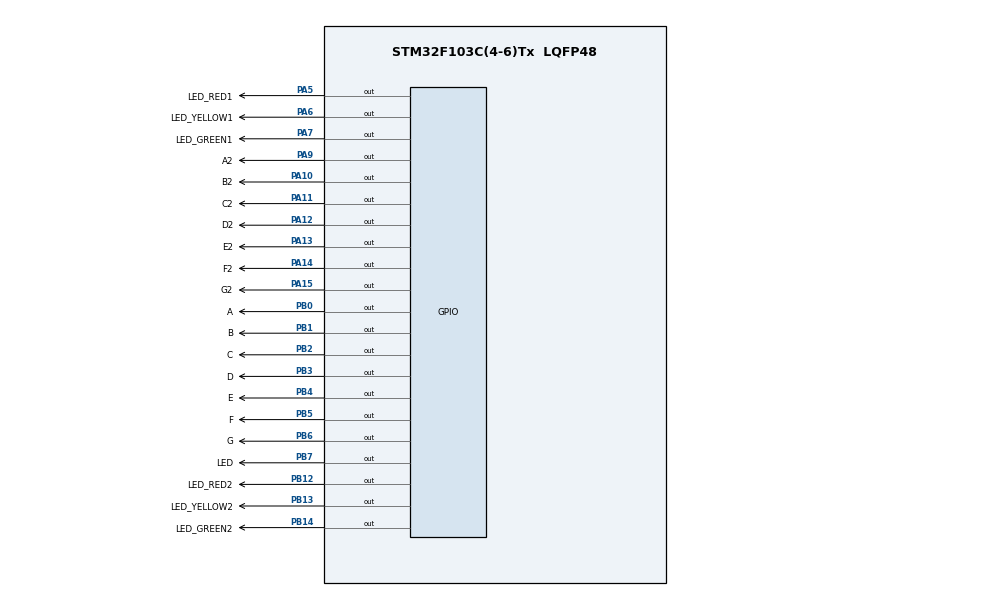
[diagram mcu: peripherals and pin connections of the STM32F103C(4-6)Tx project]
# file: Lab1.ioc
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Mcu.Family=STM32F1
Mcu.Name=STM32F103C(4-6)Tx
Mcu.Package=LQFP48
NVIC.PriorityGroup=NVIC_PRIORITYGROUP_4
PA10.GPIO_Label=B2
PA10.Signal=GPIO_Output
PA11.GPIO_Label=C2
PA11.Signal=GPIO_Output
PA12.GPIO_Label=D2
PA12.Signal=GPIO_Output
PA13.GPIO_Label=E2
PA13.Signal=GPIO_Output
PA14.GPIO_Label=F2
PA14.Signal=GPIO_Output
PA15.GPIO_Label=G2
PA15.Signal=GPIO_Output
PA5.GPIO_Label=LED_RED1
PA5.Signal=GPIO_Output
PA6.GPIO_Label=LED_YELLOW1
PA6.Signal=GPIO_Output
PA7.GPIO_Label=LED_GREEN1
PA7.Signal=GPIO_Output
PA9.GPIO_Label=A2
PA9.Signal=GPIO_Output
PB0.GPIO_Label=A
PB0.Signal=GPIO_Output
PB1.GPIO_Label=B
PB1.Signal=GPIO_Output
PB12.GPIO_Label=LED_RED2
PB12.Signal=GPIO_Output
PB13.GPIO_Label=LED_YELLOW2
PB13.Signal=GPIO_Output
PB14.GPIO_Label=LED_GREEN2
PB14.Signal=GPIO_Output
PB2.GPIO_Label=C
PB2.Signal=GPIO_Output
PB3.GPIO_Label=D
PB3.Signal=GPIO_Output
PB4.GPIO_Label=E
PB4.Signal=GPIO_Output
PB5.GPIO_Label=F
PB5.Signal=GPIO_Output
PB6.GPIO_Label=G
PB6.Signal=GPIO_Output
PB7.GPIO_Label=LED
PB7.Signal=GPIO_Output
ProjectManager.HeapSize=0x200
ProjectManager.StackSize=0x400
ProjectManager.TargetToolchain=CMake
RCC.APB1Freq_Value=8000000
RCC.APB2Freq_Value=8000000
VP_SYS_VS_ND.Mode=No_Debug
board=custom

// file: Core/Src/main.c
/* USER CODE BEGIN Header */
/**
 ******************************************************************************
 * @file           : main.c
 * @brief          : Main program body
 ******************************************************************************
 * @attention
 *
 * Copyright (c) 2025 STMicroelectronics.
 * All rights reserved.
 *
 * This software is licensed under terms that can be found in the LICENSE file
 * in the root directory of this software component.
 * If no LICENSE file comes with this software, it is provided AS-IS.
 *
 ******************************************************************************
 */
/* USER CODE END Header */
#include "main.h"

void SystemClock_Config(void);
static void MX_GPIO_Init(void);

/* USER CODE BEGIN 0 */

void display7SEG1(int num)
{
    switch(num)
    {
        case 0:
        {
            HAL_GPIO_WritePin(GPIOB, A_Pin, RESET);
            HAL_GPIO_WritePin(GPIOB, B_Pin, RESET);
            HAL_GPIO_WritePin(GPIOB, C_Pin, RESET);
            HAL_GPIO_WritePin(GPIOB, D_Pin, RESET);
            HAL_GPIO_WritePin(GPIOB, E_Pin, RESET);
            HAL_GPIO_WritePin(GPIOB, F_Pin, RESET);
            HAL_GPIO_WritePin(GPIOB, G_Pin, SET);
            break;
        }
        case 1:
        {
            HAL_GPIO_WritePin(GPIOB, A_Pin, SET);
            HAL_GPIO_WritePin(GPIOB, B_Pin, RESET);
            HAL_GPIO_WritePin(GPIOB, C_Pin, RESET);
            HAL_GPIO_WritePin(GPIOB, D_Pin, SET);
            HAL_GPIO_WritePin(GPIOB, E_Pin, SET);
            HAL_GPIO_WritePin(GPIOB, F_Pin, SET);
            HAL_GPIO_WritePin(GPIOB, G_Pin, SET);
            break;
        }
        case 2:
        {
            HAL_GPIO_WritePin(GPIOB, A_Pin, RESET);
            HAL_GPIO_WritePin(GPIOB, B_Pin, RESET);
            HAL_GPIO_WritePin(GPIOB, C_Pin, SET);
            HAL_GPIO_WritePin(GPIOB, D_Pin, RESET);
            HAL_GPIO_WritePin(GPIOB, E_Pin, RESET);
            HAL_GPIO_WritePin(GPIOB, F_Pin, SET);
            HAL_GPIO_WritePin(GPIOB, G_Pin, RESET);
            break;
        }
        case 3:
        {
            HAL_GPIO_WritePin(GPIOB, A_Pin, RESET);
            HAL_GPIO_WritePin(GPIOB, B_Pin, RESET);
            HAL_GPIO_WritePin(GPIOB, C_Pin, RESET);
            HAL_GPIO_WritePin(GPIOB, D_Pin, RESET);
            HAL_GPIO_WritePin(GPIOB, E_Pin, SET);
            HAL_GPIO_WritePin(GPIOB, F_Pin, SET);
            HAL_GPIO_WritePin(GPIOB, G_Pin, RESET);
            break;
        }
        case 4:
        {
            HAL_GPIO_WritePin(GPIOB, A_Pin, SET);
            HAL_GPIO_WritePin(GPIOB, B_Pin, RESET);
            HAL_GPIO_WritePin(GPIOB, C_Pin, RESET);
            HAL_GPIO_WritePin(GPIOB, D_Pin, SET);
            HAL_GPIO_WritePin(GPIOB, E_Pin, SET);
            HAL_GPIO_WritePin(GPIOB, F_Pin, RESET);
            HAL_GPIO_WritePin(GPIOB, G_Pin, RESET);
            break;
        }
        case 5:
        {
            HAL_GPIO_WritePin(GPIOB, A_Pin, RESET);
            HAL_GPIO_WritePin(GPIOB, B_Pin, SET);
            HAL_GPIO_WritePin(GPIOB, C_Pin, RESET);
            HAL_GPIO_WritePin(GPIOB, D_Pin, RESET);
            HAL_GPIO_WritePin(GPIOB, E_Pin, SET);
            HAL_GPIO_WritePin(GPIOB, F_Pin, RESET);
            HAL_GPIO_WritePin(GPIOB, G_Pin, RESET);
            break;
        }
        case 6:
        {
            HAL_GPIO_WritePin(GPIOB, A_Pin, RESET);
            HAL_GPIO_WritePin(GPIOB, B_Pin, SET);
            HAL_GPIO_WritePin(GPIOB, C_Pin, RESET);
            HAL_GPIO_WritePin(GPIOB, D_Pin, RESET);
            HAL_GPIO_WritePin(GPIOB, E_Pin, RESET);
            HAL_GPIO_WritePin(GPIOB, F_Pin, RESET);
            HAL_GPIO_WritePin(GPIOB, G_Pin, RESET);
            break;
        }
        case 7:
        {
            HAL_GPIO_WritePin(GPIOB, A_Pin, RESET);
            HAL_GPIO_WritePin(GPIOB, B_Pin, RESET);
            HAL_GPIO_WritePin(GPIOB, C_Pin, RESET);
            HAL_GPIO_WritePin(GPIOB, D_Pin, SET);
            HAL_GPIO_WritePin(GPIOB, E_Pin, SET);
            HAL_GPIO_WritePin(GPIOB, F_Pin, SET);
            HAL_GPIO_WritePin(GPIOB, G_Pin, SET);
            break;
        }
        case 8:
        {
            HAL_GPIO_WritePin(GPIOB, A_Pin, RESET);
            HAL_GPIO_WritePin(GPIOB, B_Pin, RESET);
            HAL_GPIO_WritePin(GPIOB, C_Pin, RESET);
            HAL_GPIO_WritePin(GPIOB, D_Pin, RESET);
            HAL_GPIO_WritePin(GPIOB, E_Pin, RESET);
            HAL_GPIO_WritePin(GPIOB, F_Pin, RESET);
            HAL_GPIO_WritePin(GPIOB, G_Pin, RESET);
            break;
        }
        case 9:
        {
            HAL_GPIO_WritePin(GPIOB, A_Pin, RESET);
            HAL_GPIO_WritePin(GPIOB, B_Pin, RESET);
            HAL_GPIO_WritePin(GPIOB, C_Pin, RESET);
            HAL_GPIO_WritePin(GPIOB, D_Pin, RESET);
            HAL_GPIO_WritePin(GPIOB, E_Pin, SET);
            HAL_GPIO_WritePin(GPIOB, F_Pin, RESET);
            HAL_GPIO_WritePin(GPIOB, G_Pin, RESET);
            break;
        }
    }
}

void display7SEG2(int num)
{
    switch(num)
    {
        case 0:
        {
            HAL_GPIO_WritePin(GPIOA, A2_Pin, RESET);
            HAL_GPIO_WritePin(GPIOA, B2_Pin, RESET);
            HAL_GPIO_WritePin(GPIOA, C2_Pin, RESET);
            HAL_GPIO_WritePin(GPIOA, D2_Pin, RESET);
            HAL_GPIO_WritePin(GPIOA, E2_Pin, RESET);
            HAL_GPIO_WritePin(GPIOA, F2_Pin, RESET);
            HAL_GPIO_WritePin(GPIOA, G2_Pin, SET);
            break;
        }
        case 1:
        {
            HAL_GPIO_WritePin(GPIOA, A2_Pin, SET);
            HAL_GPIO_WritePin(GPIOA, B2_Pin, RESET);
            HAL_GPIO_WritePin(GPIOA, C2_Pin, RESET);
            HAL_GPIO_WritePin(GPIOA, D2_Pin, SET);
            HAL_GPIO_WritePin(GPIOA, E2_Pin, SET);
            HAL_GPIO_WritePin(GPIOA, F2_Pin, SET);
            HAL_GPIO_WritePin(GPIOA, G2_Pin, SET);
            break;
        }
        case 2:
        {
            HAL_GPIO_WritePin(GPIOA, A2_Pin, RESET);
            HAL_GPIO_WritePin(GPIOA, B2_Pin, RESET);
            HAL_GPIO_WritePin(GPIOA, C2_Pin, SET);
            HAL_GPIO_WritePin(GPIOA, D2_Pin, RESET);
            HAL_GPIO_WritePin(GPIOA, E2_Pin, RESET);
            HAL_GPIO_WritePin(GPIOA, F2_Pin, SET);
            HAL_GPIO_WritePin(GPIOA, G2_Pin, RESET);
            break;
        }
        case 3:
        {
            HAL_GPIO_WritePin(GPIOA, A2_Pin, RESET);
            HAL_GPIO_WritePin(GPIOA, B2_Pin, RESET);
            HAL_GPIO_WritePin(GPIOA, C2_Pin, RESET);
            HAL_GPIO_WritePin(GPIOA, D2_Pin, RESET);
            HAL_GPIO_WritePin(GPIOA, E2_Pin, SET);
            HAL_GPIO_WritePin(GPIOA, F2_Pin, SET);
            HAL_GPIO_WritePin(GPIOA, G2_Pin, RESET);
            break;
        }
        case 4:
        {
            HAL_GPIO_WritePin(GPIOA, A2_Pin, SET);
            HAL_GPIO_WritePin(GPIOA, B2_Pin, RESET);
            HAL_GPIO_WritePin(GPIOA, C2_Pin, RESET);
            HAL_GPIO_WritePin(GPIOA, D2_Pin, SET);
            HAL_GPIO_WritePin(GPIOA, E2_Pin, SET);
            HAL_GPIO_WritePin(GPIOA, F2_Pin, RESET);
            HAL_GPIO_WritePin(GPIOA, G2_Pin, RESET);
            break;
        }
        case 5:
        {
            HAL_GPIO_WritePin(GPIOA, A2_Pin, RESET);
            HAL_GPIO_WritePin(GPIOA, B2_Pin, SET);
            HAL_GPIO_WritePin(GPIOA, C2_Pin, RESET);
            HAL_GPIO_WritePin(GPIOA, D2_Pin, RESET);
            HAL_GPIO_WritePin(GPIOA, E2_Pin, SET);
            HAL_GPIO_WritePin(GPIOA, F2_Pin, RESET);
            HAL_GPIO_WritePin(GPIOA, G2_Pin, RESET);
            break;
        }
        case 6:
        {
            HAL_GPIO_WritePin(GPIOA, A2_Pin, RESET);
            HAL_GPIO_WritePin(GPIOA, B2_Pin, SET);
            HAL_GPIO_WritePin(GPIOA, C2_Pin, RESET);
            HAL_GPIO_WritePin(GPIOA, D2_Pin, RESET);
            HAL_GPIO_WritePin(GPIOA, E2_Pin, RESET);
            HAL_GPIO_WritePin(GPIOA, F2_Pin, RESET);
            HAL_GPIO_WritePin(GPIOA, G2_Pin, RESET);
            break;
        }
        case 7:
        {
            HAL_GPIO_WritePin(GPIOA, A2_Pin, RESET);
            HAL_GPIO_WritePin(GPIOA, B2_Pin, RESET);
            HAL_GPIO_WritePin(GPIOA, C2_Pin, RESET);
            HAL_GPIO_WritePin(GPIOA, D2_Pin, SET);
            HAL_GPIO_WritePin(GPIOA, E2_Pin, SET);
            HAL_GPIO_WritePin(GPIOA, F2_Pin, SET);
            HAL_GPIO_WritePin(GPIOA, G2_Pin, SET);
            break;
        }
        case 8:
        {
            HAL_GPIO_WritePin(GPIOA, A2_Pin, RESET);
            HAL_GPIO_WritePin(GPIOA, B2_Pin, RESET);
            HAL_GPIO_WritePin(GPIOA, C2_Pin, RESET);
            HAL_GPIO_WritePin(GPIOA, D2_Pin, RESET);
            HAL_GPIO_WritePin(GPIOA, E2_Pin, RESET);
            HAL_GPIO_WritePin(GPIOA, F2_Pin, RESET);
            HAL_GPIO_WritePin(GPIOA, G2_Pin, RESET);
            break;
        }
        case 9:
        {
            HAL_GPIO_WritePin(GPIOA, A2_Pin, RESET);
            HAL_GPIO_WritePin(GPIOA, B2_Pin, RESET);
            HAL_GPIO_WritePin(GPIOA, C2_Pin, RESET);
            HAL_GPIO_WritePin(GPIOA, D2_Pin, RESET);
            HAL_GPIO_WritePin(GPIOA, E2_Pin, SET);
            HAL_GPIO_WritePin(GPIOA, F2_Pin, RESET);
            HAL_GPIO_WritePin(GPIOA, G2_Pin, RESET);
            break;
        }
    }
}

/* USER CODE END 0 */

int main(void)
{

  /* MCU Configuration--------------------------------------------------------*/

  /* Reset of all peripherals, Initializes the Flash interface and the Systick. */
  HAL_Init();

  /* Configure the system clock */
  SystemClock_Config();

  /* Initialize all configured peripherals */
  MX_GPIO_Init();

  /* Infinite loop */
  /* USER CODE BEGIN WHILE */
    int count = 10;
    int count1 = 5;
    int count2 = 3;
    int red1 = 0, yellow1 = 0, green1 = 0, red2 = 0, yellow2 = 0, green2 = 0;

    while(1)
    {
    /* USER CODE END WHILE */

    /* USER CODE BEGIN 3 */
        if(count == 10)
        {
            red1 = green2 = 1;
            red2 = yellow1 = green1 = yellow2 = 0;

            HAL_GPIO_WritePin(GPIOA, LED_RED1_Pin, RESET);
            HAL_GPIO_WritePin(GPIOA, LED_YELLOW1_Pin, SET);
            HAL_GPIO_WritePin(GPIOA, LED_GREEN1_Pin, SET);

            HAL_GPIO_WritePin(GPIOB, LED_RED2_Pin, SET);
            HAL_GPIO_WritePin(GPIOB, LED_YELLOW2_Pin, SET);
            HAL_GPIO_WritePin(GPIOB, LED_GREEN2_Pin, RESET);
        }
        else if(count == 7)
        {
            yellow2 = 1;
            red2 = green2 = 0;
            HAL_GPIO_WritePin(GPIOB, LED_RED2_Pin, SET);
            HAL_GPIO_WritePin(GPIOB, LED_YELLOW2_Pin, RESET);
            HAL_GPIO_WritePin(GPIOB, LED_GREEN2_Pin, SET);
        }
        else if(count == 5)
        {
            green1 = red2 = 1;
            red1 = yellow1 = yellow2 = green2 = 0;
            HAL_GPIO_WritePin(GPIOA, LED_YELLOW1_Pin, SET);
            HAL_GPIO_WritePin(GPIOA, LED_RED1_Pin, SET);
            HAL_GPIO_WritePin(GPIOA, LED_GREEN1_Pin, RESET);

            HAL_GPIO_WritePin(GPIOB, LED_YELLOW2_Pin, SET);
            HAL_GPIO_WritePin(GPIOB, LED_RED2_Pin, RESET);
            HAL_GPIO_WritePin(GPIOB, LED_GREEN2_Pin, SET);
        }
        else if(count == 2)
        {
            yellow1 = 1;
            red1 = green1 = 0;

            HAL_GPIO_WritePin(GPIOA, LED_YELLOW1_Pin, RESET);
            HAL_GPIO_WritePin(GPIOA, LED_RED1_Pin, SET);
            HAL_GPIO_WritePin(GPIOA, LED_GREEN1_Pin, SET);
        }

        // display7SEG1(count--);
        count--;
        display7SEG1(count1--);
        display7SEG2(count2--);
        if(count1 == 0)
        {
            if(red1)
                count1 = 3;
            if(green1)
                count1 = 2;
            if(yellow1)
                count1 = 5;
        }

        if(count2 == 0)
        {
            if(red2)
                count2 = 3;
            if(green2)
                count2 = 2;
            if(yellow2)
                count2 = 5;
        }
        if(count == 0)
            count = 10;
        HAL_Delay(1000);
    }
  /* USER CODE END 3 */
}

void SystemClock_Config(void)
{
  RCC_OscInitTypeDef RCC_OscInitStruct = {0};
  RCC_ClkInitTypeDef RCC_ClkInitStruct = {0};

  /** Initializes the RCC Oscillators according to the specified parameters
  * in the RCC_OscInitTypeDef structure.
  */
  RCC_OscInitStruct.OscillatorType = RCC_OSCILLATORTYPE_HSI;
  RCC_OscInitStruct.HSIState = RCC_HSI_ON;
  RCC_OscInitStruct.HSICalibrationValue = RCC_HSICALIBRATION_DEFAULT;
  RCC_OscInitStruct.PLL.PLLState = RCC_PLL_NONE;
  if (HAL_RCC_OscConfig(&RCC_OscInitStruct) != HAL_OK)
  {
    Error_Handler();
  }

  /** Initializes the CPU, AHB and APB buses clocks
  */
  RCC_ClkInitStruct.ClockType = RCC_CLOCKTYPE_HCLK|RCC_CLOCKTYPE_SYSCLK
                              |RCC_CLOCKTYPE_PCLK1|RCC_CLOCKTYPE_PCLK2;
  RCC_ClkInitStruct.SYSCLKSource = RCC_SYSCLKSOURCE_HSI;
  RCC_ClkInitStruct.AHBCLKDivider = RCC_SYSCLK_DIV1;
  RCC_ClkInitStruct.APB1CLKDivider = RCC_HCLK_DIV1;
  RCC_ClkInitStruct.APB2CLKDivider = RCC_HCLK_DIV1;

  if (HAL_RCC_ClockConfig(&RCC_ClkInitStruct, FLASH_LATENCY_0) != HAL_OK)
  {
    Error_Handler();
  }
}

static void MX_GPIO_Init(void)
{
  GPIO_InitTypeDef GPIO_InitStruct = {0};

  /* GPIO Ports Clock Enable */
  __HAL_RCC_GPIOA_CLK_ENABLE();
  __HAL_RCC_GPIOB_CLK_ENABLE();

  /*Configure GPIO pin Output Level */
  HAL_GPIO_WritePin(GPIOA, LED_RED1_Pin|LED_YELLOW1_Pin|LED_GREEN1_Pin|A2_Pin
                          |B2_Pin|C2_Pin|D2_Pin|E2_Pin
                          |F2_Pin|G2_Pin, GPIO_PIN_RESET);

  /*Configure GPIO pin Output Level */
  HAL_GPIO_WritePin(GPIOB, A_Pin|B_Pin|C_Pin|LED_RED2_Pin
                          |LED_YELLOW2_Pin|LED_GREEN2_Pin|D_Pin|E_Pin
                          |F_Pin|G_Pin|LED_Pin, GPIO_PIN_RESET);

  /*Configure GPIO pins : LED_RED1_Pin LED_YELLOW1_Pin LED_GREEN1_Pin A2_Pin
                           B2_Pin C2_Pin D2_Pin E2_Pin
                           F2_Pin G2_Pin */
  GPIO_InitStruct.Pin = LED_RED1_Pin|LED_YELLOW1_Pin|LED_GREEN1_Pin|A2_Pin
                          |B2_Pin|C2_Pin|D2_Pin|E2_Pin
                          |F2_Pin|G2_Pin;
  GPIO_InitStruct.Mode = GPIO_MODE_OUTPUT_PP;
  GPIO_InitStruct.Pull = GPIO_NOPULL;
  GPIO_InitStruct.Speed = GPIO_SPEED_FREQ_LOW;
  HAL_GPIO_Init(GPIOA, &GPIO_InitStruct);

  /*Configure GPIO pins : A_Pin B_Pin C_Pin LED_RED2_Pin
                           LED_YELLOW2_Pin LED_GREEN2_Pin D_Pin E_Pin
                           F_Pin G_Pin LED_Pin */
  GPIO_InitStruct.Pin = A_Pin|B_Pin|C_Pin|LED_RED2_Pin
                          |LED_YELLOW2_Pin|LED_GREEN2_Pin|D_Pin|E_Pin
                          |F_Pin|G_Pin|LED_Pin;
  GPIO_InitStruct.Mode = GPIO_MODE_OUTPUT_PP;
  GPIO_InitStruct.Pull = GPIO_NOPULL;
  GPIO_InitStruct.Speed = GPIO_SPEED_FREQ_LOW;
  HAL_GPIO_Init(GPIOB, &GPIO_InitStruct);

}

void Error_Handler(void)
{
  /* USER CODE BEGIN Error_Handler_Debug */
    /* User can add his own implementation to report the HAL error return state
     */
    __disable_irq();
    while(1)
    {
    }
  /* USER CODE END Error_Handler_Debug */
}
#ifdef USE_FULL_ASSERT
/**
  * @brief  Reports the name of the source file and the source line number
  *         where the assert_param error has occurred.
  * @param  file: pointer to the source file name
  * @param  line: assert_param error line source number
  * @retval None
  */
void assert_failed(uint8_t *file, uint32_t line)
{
  /* USER CODE BEGIN 6 */
    /* User can add his own implementation to report the file name and line
       number, ex: printf("Wrong parameters value: file %s on line %d\r\n",
       file, line) */
  /* USER CODE END 6 */
}
#endif /* USE_FULL_ASSERT */
